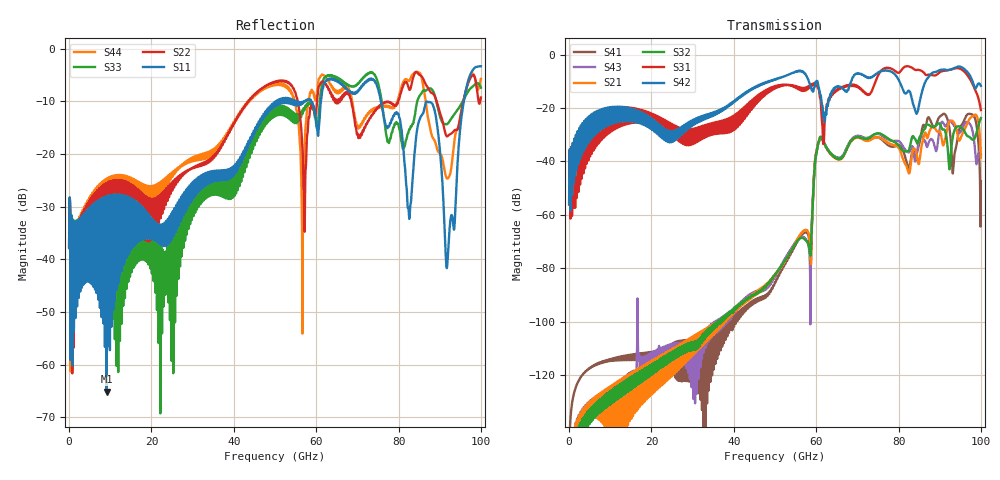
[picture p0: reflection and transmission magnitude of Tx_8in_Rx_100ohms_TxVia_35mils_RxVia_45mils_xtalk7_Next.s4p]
! Info: Touchstone file created by Circ.  Input file=Tx_8in_Rx_100ohms_TxVia_35mils_RxVia_45mils.circ
# Hz S RI R 50
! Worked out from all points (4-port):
!   10000 points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, 10 MHz to 100 GHz, reference 50 ohm
!   strongest paths, dB at 10 MHz, 25.01 GHz, 50.01 GHz, 75.01 GHz, 100 GHz:
!     S42: -55.6, -28.7, -9.4, -6.7, -11.6
!     S31: -56.2, -26.7, -12.7, -7.8, -20.7
!     S32: -179.8, -111.2, -82.2, -29.4, -23.7
!     S21: -175.3, -112.0, -82.4, -30.8, -38.5
!     S43: -174.9, -108.8, -82.8, -29.7, -37.3
!     S41: -162.0, -114.7, -85.2, -31.0, -47.4
!   lowest |S11| = -65.2 dB at 9.11 GHz (marker M1), VSWR 1.00, Z = 50 - j0.0519 ohm
!   |S11| at or under -10 dB: start of sweep to 50.08 GHz; 58.81 GHz to 61.15 GHz (2.339 GHz wide, 3.9 % of centre); 75.72 GHz to 95.85 GHz (20.13 GHz wide, 23.5 % of centre)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
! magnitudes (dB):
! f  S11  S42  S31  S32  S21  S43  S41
! 10 MHz  -37.9  -55.6  -56.2  -179.8  -175.3  -174.9  -162.0
! 9.11 GHz  -65.2  -25.6  -28.2  -128.0  -128.4  -128.6  -114.8
! 58.33 GHz  -9.6  -10.4  -12.5  -73.0  -68.1  -73.9  -69.6
! 60.88 GHz  -12.8  -14.4  -15.7  -31.2  -31.1  -31.5  -31.4
! 73.41 GHz  -5.6  -8.4  -14.0  -30.5  -31.6  -30.4  -31.4
! 91.77 GHz  -41.5  -5.8  -5.9  -32.5  -28.1  -26.0  -23.7
! 100 GHz  -3.3  -11.6  -20.7  -23.7  -38.5  -37.3  -47.4
